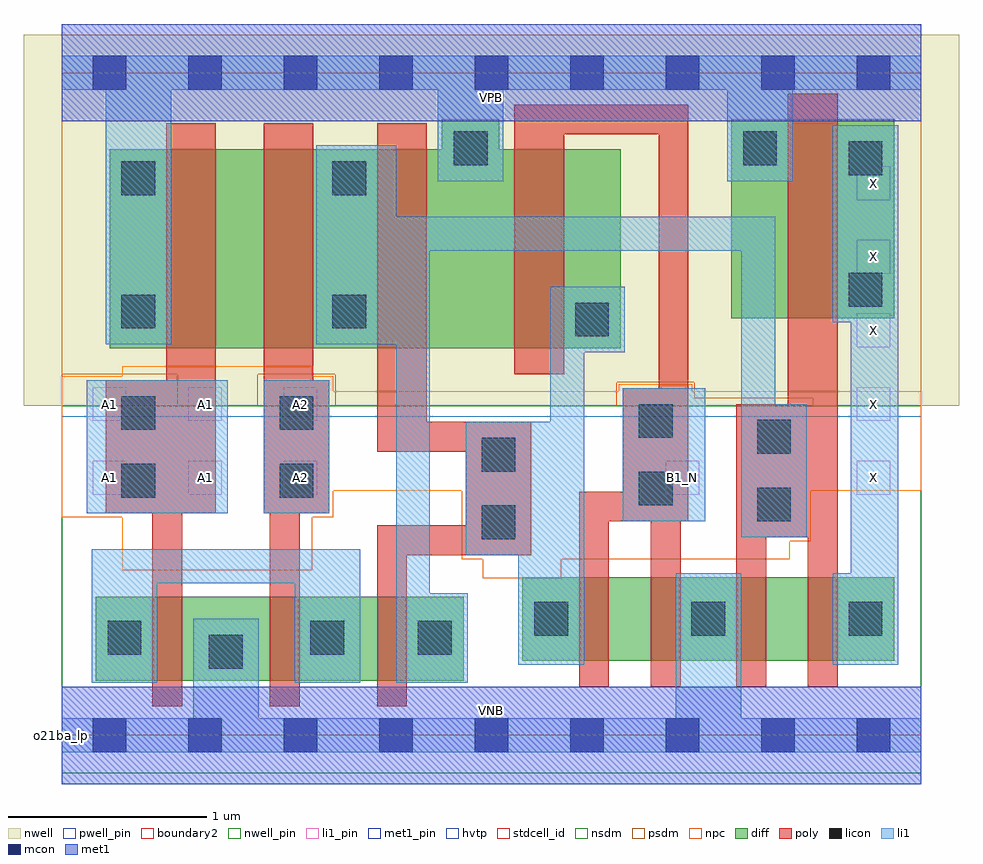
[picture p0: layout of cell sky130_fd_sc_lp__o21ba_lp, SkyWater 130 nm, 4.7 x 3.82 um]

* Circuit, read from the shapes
.subckt sky130_fd_sc_lp__o21ba_lp A1 A2 B1_N VGND VNB VPB VPWR X
XM1 VGND A1 n1 VNB sky130_fd_pr__nfet_01v8 w=0.42 l=0.15
XM2 n1 A2 VGND VNB sky130_fd_pr__nfet_01v8 w=0.42 l=0.15
XM3 n2 n3 n1 VNB sky130_fd_pr__nfet_01v8 w=0.42 l=0.15
XM4 n4 B1_N n3 VNB sky130_fd_pr__nfet_01v8 w=0.42 l=0.15
XM5 VGND B1_N n4 VNB sky130_fd_pr__nfet_01v8 w=0.42 l=0.15
XM6 n5 n2 VGND VNB sky130_fd_pr__nfet_01v8 w=0.42 l=0.15
XM7 X n2 n5 VNB sky130_fd_pr__nfet_01v8 w=0.42 l=0.15
XM8 n6 A1 VPWR VPB sky130_fd_pr__pfet_01v8_hvt w=1 l=0.25
XM9 n2 A2 n6 VPB sky130_fd_pr__pfet_01v8_hvt w=1 l=0.25
XM10 VPWR n3 n2 VPB sky130_fd_pr__pfet_01v8_hvt w=1 l=0.25
XM11 n3 B1_N VPWR VPB sky130_fd_pr__pfet_01v8_hvt w=1 l=0.25
XM12 X n2 VPWR VPB sky130_fd_pr__pfet_01v8_hvt w=1 l=0.25
.ends

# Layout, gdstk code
import gdstk
lib = gdstk.Library(unit=1e-6, precision=1e-09)
def R(c, l, rs):  # rectangles x0, y0, x1, y1
    for r in rs: c.add(gdstk.rectangle(r[:2], r[2:], *l))
def A(c, l, x, y, w, h, nx, ny, dx, dy):  # array of equal rectangles
    R(c, l, [(x+i*dx, y+j*dy, x+i*dx+w, y+j*dy+h) for i in range(nx) for j in range(ny)])
def P(c, l, *ps):  # polygons
    for p in ps: c.add(gdstk.Polygon(p, *l))
nwell_pin = (64, 16)
nwell = (64, 20)
diff = (65, 20)
poly = (66, 20)
licon = (66, 44)
li1_pin = (67, 16)
li1 = (67, 20)
mcon = (67, 44)
met1_pin = (68, 16)
met1 = (68, 20)
hvtp = (78, 44)
stdcell_id = (81, 4)
nsdm = (93, 44)
psdm = (94, 20)
npc = (95, 20)
pwell_pin = (122, 16)
boundary2 = (236, 0)

sky130_fd_sc_lp__o21ba_l = lib.new_cell('sky130_fd_sc_lp__o21ba_lp')
R(sky130_fd_sc_lp__o21ba_l, nwell_pin, [(0,3.085,4.32,3.33)])
R(sky130_fd_sc_lp__o21ba_l, nwell, [(-0.19,1.655,4.51,3.52)])
R(sky130_fd_sc_lp__o21ba_l, diff, [(0.17,0.275,2.02,0.695), (2.315,0.375,4.185,0.795), (3.365,2.095,4.185,3.095)])
P(sky130_fd_sc_lp__o21ba_l, diff, [(2.81,2.945),(2.2,2.945),(2.2,3.095),(1.91,3.095),(1.91,2.945),(0.24,2.945),(0.24,1.945),(2.81,1.945)])
P(sky130_fd_sc_lp__o21ba_l, poly, [(0.775,3.075),(0.525,3.075),(0.525,1.785),(0.22,1.785),(0.22,1.115),(0.455,1.115),(0.455,0.145),(0.605,0.145),(0.605,1.115),(0.775,1.115)],
  [(1.345,1.785),(1.265,1.785),(1.265,3.075),(1.015,3.075),(1.015,1.115),(1.045,1.115),(1.045,0.145),(1.195,0.145),(1.195,1.115),(1.345,1.115)],
  [(2.36,1.575),(1.835,1.575),(1.835,3.075),(1.585,3.075),(1.585,1.425),(2.03,1.425),(2.03,1.055),(1.585,1.055),(1.585,0.145),(1.735,0.145),(1.735,0.905),(2.36,0.905)],
  [(3.15,3.17),(2.275,3.17),(2.275,1.815),(2.525,1.815),(2.525,3.02),(3,3.02),(3,1.745),(2.82,1.745),(2.82,1.225),(2.6,1.225),(2.6,0.245),(2.75,0.245),(2.75,1.075),(2.96,1.075),(2.96,0.245),(3.11,0.245),(3.11,1.075),(3.15,1.075)],
  [(3.9,3.225),(3.65,3.225),(3.65,1.665),(3.39,1.665),(3.39,0.245),(3.54,0.245),(3.54,0.995),(3.75,0.995),(3.75,0.245),(3.9,0.245)])
A(sky130_fd_sc_lp__o21ba_l, licon, 2.375, 0.5, 0.17, 0.17, 3, 1, 0.79, 0)
R(sky130_fd_sc_lp__o21ba_l, licon, [(0.74,0.335,0.91,0.505), (0.23,0.405,0.4,0.575), (1.25,0.405,1.42,0.575), (1.79,0.405,1.96,0.575), (2.11,0.985,2.28,1.155), (3.495,1.075,3.665,1.245), (2.9,1.155,3.07,1.325), (0.3,1.195,0.47,1.365), (1.095,1.195,1.265,1.365), (2.11,1.325,2.28,1.495), (3.495,1.415,3.665,1.585), (2.9,1.495,3.07,1.665), (0.3,1.535,0.47,1.705), (1.095,1.535,1.265,1.705), (2.58,2.005,2.75,2.175), (0.3,2.045,0.47,2.215), (1.36,2.045,1.53,2.215), (3.955,2.155,4.125,2.325), (0.3,2.715,0.47,2.885), (1.36,2.715,1.53,2.885), (3.955,2.815,4.125,2.985), (1.97,2.865,2.14,3.035), (3.425,2.865,3.595,3.035)])
A(sky130_fd_sc_lp__o21ba_l, li1_pin, 0.155, 1.21, 0.17, 0.17, 3, 2, 0.48, 0.37)
A(sky130_fd_sc_lp__o21ba_l, li1_pin, 3.995, 1.21, 0.17, 0.17, 1, 5, 0, 0.37)
R(sky130_fd_sc_lp__o21ba_l, li1_pin, [(3.035,1.21,3.205,1.38)])
R(sky130_fd_sc_lp__o21ba_l, li1, [(2.82,1.075,3.235,1.745), (0.125,1.115,0.835,1.785), (1.015,1.115,1.345,1.785)])
P(sky130_fd_sc_lp__o21ba_l, li1, [(0.22,1.965),(0.22,3.245),(0,3.245),(0,3.415),(4.32,3.415),(4.32,3.245),(3.675,3.245),(3.675,2.785),(3.345,2.785),(3.345,3.245),(2.22,3.245),(2.22,2.785),(1.89,2.785),(1.89,3.245),(0.55,3.245),(0.55,1.965)],
  [(0.66,0.085),(0.66,0.585),(0.99,0.585),(0.99,0.085),(3.085,0.085),(3.085,0.815),(3.415,0.815),(3.415,0.085),(4.32,0.085),(4.32,-0.085),(0,-0.085),(0,0.085)],
  [(3.965,2.075),(3.875,2.075),(3.875,3.065),(4.205,3.065),(4.205,0.355),(3.875,0.355),(3.875,0.815),(3.965,0.815)],
  [(1.68,2.605),(3.585,2.605),(3.585,1.665),(3.745,1.665),(3.745,0.995),(3.415,0.995),(3.415,2.435),(1.85,2.435),(1.85,0.715),(2.04,0.715),(2.04,0.265),(1.68,0.265),(1.68,1.965),(1.28,1.965),(1.28,2.965),(1.68,2.965)],
  [(1.17,0.265),(1.17,0.765),(0.48,0.765),(0.48,0.265),(0.15,0.265),(0.15,0.935),(1.5,0.935),(1.5,0.265)],
  [(2.03,0.905),(2.03,1.575),(2.455,1.575),(2.455,2.255),(2.83,2.255),(2.83,1.925),(2.625,1.925),(2.625,0.355),(2.295,0.355),(2.295,0.905)])
A(sky130_fd_sc_lp__o21ba_l, mcon, 0.155, -0.085, 0.17, 0.17, 9, 2, 0.48, 3.33)
R(sky130_fd_sc_lp__o21ba_l, met1_pin, [(0,0,4.32,0.245), (0,3.085,4.32,3.33)])
R(sky130_fd_sc_lp__o21ba_l, met1, [(0,-0.245,4.32,0.245), (0,3.085,4.32,3.575)])
R(sky130_fd_sc_lp__o21ba_l, hvtp, [(0,1.6,4.32,3.33)])
R(sky130_fd_sc_lp__o21ba_l, stdcell_id, [(0,0,4.32,3.33)])
R(sky130_fd_sc_lp__o21ba_l, nsdm, [(0,-0.19,4.32,1.655)])
P(sky130_fd_sc_lp__o21ba_l, psdm, [(4.32,3.52),(0,3.52),(0,1.815),(0.58,1.815),(0.58,1.655),(0.985,1.655),(0.985,1.815),(1.375,1.815),(1.375,1.655),(2.79,1.655),(2.79,1.775),(3.18,1.775),(3.18,1.695),(3.775,1.695),(3.775,1.655),(4.32,1.655)])
P(sky130_fd_sc_lp__o21ba_l, npc, [(4.32,1.73),(3.17,1.73),(3.17,1.765),(2.8,1.765),(2.8,1.73),(1.365,1.73),(1.365,1.805),(1.26,1.805),(1.26,1.855),(0.305,1.855),(0.305,1.805),(0,1.805),(0,1.095),(0.305,1.095),(0.305,0.83),(1.26,0.83),(1.26,1.095),(1.365,1.095),(1.365,1.23),(2.01,1.23),(2.01,0.885),(2.115,0.885),(2.115,0.79),(2.51,0.79),(2.51,0.885),(3.66,0.885),(3.66,0.975),(3.765,0.975),(3.765,1.23),(4.32,1.23)])
R(sky130_fd_sc_lp__o21ba_l, pwell_pin, [(0,0,4.32,0.245)])
R(sky130_fd_sc_lp__o21ba_l, boundary2, [(0,0,4.32,3.33)])
sky130_fd_sc_lp__o21ba_l.add(gdstk.Label('VNB', (2.16,0.123), layer=64, texttype=59))
sky130_fd_sc_lp__o21ba_l.add(gdstk.Label('VPB', (2.16,3.208), layer=64, texttype=5))
sky130_fd_sc_lp__o21ba_l.add(gdstk.Label('o21ba_lp', (0,0), layer=83, texttype=44))
sky130_fd_sc_lp__o21ba_l.add(gdstk.Label('VPWR', (2.16,3.208), layer=68, texttype=5))
sky130_fd_sc_lp__o21ba_l.add(gdstk.Label('VGND', (2.16,0.123), layer=68, texttype=5))
sky130_fd_sc_lp__o21ba_l.add(gdstk.Label('B1_N', (3.12,1.295), layer=67, texttype=5))
sky130_fd_sc_lp__o21ba_l.add(gdstk.Label('A2', (1.2,1.295), layer=67, texttype=5))
sky130_fd_sc_lp__o21ba_l.add(gdstk.Label('A2', (1.2,1.665), layer=67, texttype=5))
sky130_fd_sc_lp__o21ba_l.add(gdstk.Label('A1', (0.24,1.295), layer=67, texttype=5))
sky130_fd_sc_lp__o21ba_l.add(gdstk.Label('A1', (0.24,1.665), layer=67, texttype=5))
sky130_fd_sc_lp__o21ba_l.add(gdstk.Label('A1', (0.72,1.295), layer=67, texttype=5))
sky130_fd_sc_lp__o21ba_l.add(gdstk.Label('A1', (0.72,1.665), layer=67, texttype=5))
sky130_fd_sc_lp__o21ba_l.add(gdstk.Label('X', (4.08,1.295), layer=67, texttype=5))
sky130_fd_sc_lp__o21ba_l.add(gdstk.Label('X', (4.08,1.665), layer=67, texttype=5))
sky130_fd_sc_lp__o21ba_l.add(gdstk.Label('X', (4.08,2.035), layer=67, texttype=5))
sky130_fd_sc_lp__o21ba_l.add(gdstk.Label('X', (4.08,2.405), layer=67, texttype=5))
sky130_fd_sc_lp__o21ba_l.add(gdstk.Label('X', (4.08,2.775), layer=67, texttype=5))

lib.write_gds('sky130_fd_sc_lp__o21ba_lp.gds')
